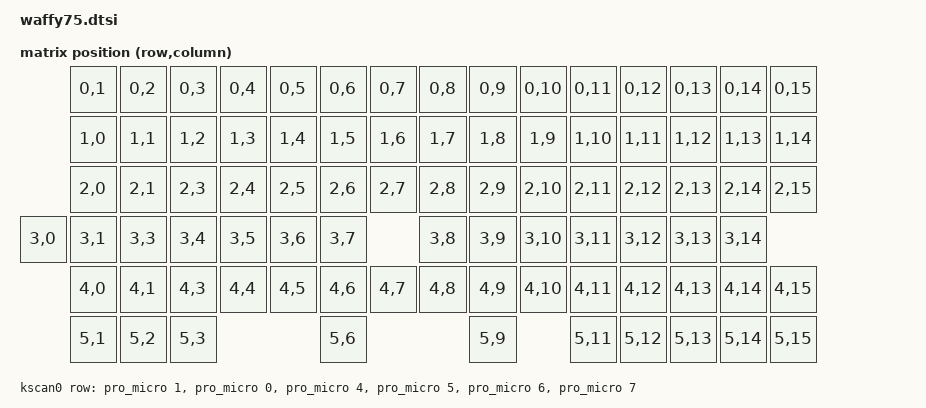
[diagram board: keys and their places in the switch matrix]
#include "waffy75-layouts.dtsi"
#include <dt-bindings/zmk/matrix_transform.h>

/ {
    chosen {
        zmk,physical-layout = &physical_layout0;
        // zmk,kscan = &kscan0;   // already defined in &physical_layout0

        // Other chosen items
    };

    default_transform: keymap_transform0 {
        compatible = "zmk,matrix-transform";
        columns = <16>;
        rows = <6>;
        //   <     0  1  2  3  4  5  6     7  8  9 10 11 12 13 14 >
        // , < 15 16 17 18 19 20 21 22    23 24 25 26 27 28 29    >
        // , < 30 31    32 33 34 35 36    37 38 39 40 41 42 43 44 >
        // , < 45 46    47 48 49 50 51    52 53 54 55 56 57 58    >
        // , < 59 60    61 62 63 64 65    66 67 68 69 70 71 72 73 >
        // , <    74 75 76       77          78    79 80 81 82 83 >;
        map = <
                RC(0,1) RC(0,2) RC(0,3) RC(0,4) RC(0,5) RC(0,6) RC(0,7)     RC(0,8) RC(0,9) RC(0,10) RC(0,11) RC(0,12) RC(0,13) RC(0,14) RC(0,15)
        RC(1,0) RC(1,1) RC(1,2) RC(1,3) RC(1,4) RC(1,5) RC(1,6) RC(1,7)     RC(1,8) RC(1,9) RC(1,10) RC(1,11) RC(1,12) RC(1,13) RC(1,14) 
        RC(2,0) RC(2,1)         RC(2,3) RC(2,4) RC(2,5) RC(2,6) RC(2,7)     RC(2,8) RC(2,9) RC(2,10) RC(2,11) RC(2,12) RC(2,13) RC(2,14) RC(2,15)
        RC(3,0) RC(3,1)         RC(3,3) RC(3,4) RC(3,5) RC(3,6) RC(3,7)     RC(3,8) RC(3,9) RC(3,10) RC(3,11) RC(3,12) RC(3,13) RC(3,14) 
        RC(4,0) RC(4,1)         RC(4,3) RC(4,4) RC(4,5) RC(4,6) RC(4,7)     RC(4,8) RC(4,9) RC(4,10) RC(4,11) RC(4,12) RC(4,13) RC(4,14) RC(4,15)
                RC(5,1) RC(5,2) RC(5,3)                 RC(5,6)                     RC(5,9)          RC(5,11) RC(5,12) RC(5,13) RC(5,14) RC(5,15)
        >;
    };

    kscan0: kscan0 {
        compatible = "zmk,kscan-gpio-matrix";
        diode-direction = "col2row";
        wakeup-source;

        row-gpios
            = <&pro_micro 1 (GPIO_ACTIVE_HIGH | GPIO_PULL_DOWN)>
            , <&pro_micro 0 (GPIO_ACTIVE_HIGH | GPIO_PULL_DOWN)>
            , <&pro_micro 4 (GPIO_ACTIVE_HIGH | GPIO_PULL_DOWN)>
            , <&pro_micro 5 (GPIO_ACTIVE_HIGH | GPIO_PULL_DOWN)>
            , <&pro_micro 6 (GPIO_ACTIVE_HIGH | GPIO_PULL_DOWN)>
            , <&pro_micro 7 (GPIO_ACTIVE_HIGH | GPIO_PULL_DOWN)>
            ;

    };
};
